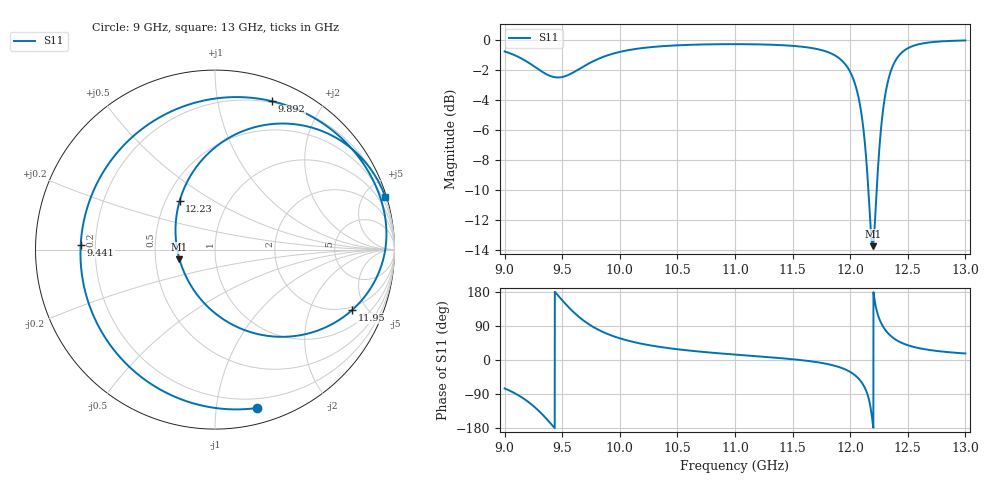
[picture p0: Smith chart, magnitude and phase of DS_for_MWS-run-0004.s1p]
! TOUCHSTONE file generated by CST DESIGN STUDIO
! Date and time: Tue Feb  4 17:49:34 2025
! Project name: C:\Work\MatlabApps\UnitCellOptimizationMatlab\CST\unitcell.cst
! Tree item: Tasks\Sweep1\SPara1\S-Parameters
! Header version: 2024
! Port assignment regex: !\s*Touchstone port\s*([0-9]+)\s*=\s*(CST MWS port|CST DES external port|CST DES block port)\s*(.+)\s* \(\"(.*)\"\)(\s*mode\s*([0-9]+))?.*
! Touchstone port assignment:
! Touchstone port 1 = CST DES external port 1 ("")
# GHz S MA R 50
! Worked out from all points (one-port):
!   4001 points, 9 GHz to 13 GHz, reference 50 ohm
!   lowest |S11| = -13.8 dB at 12.2 GHz (marker M1), VSWR 1.52, Z = 33.3 - j3.76 ohm
!   |S11| at or under -10 dB: 12.16 GHz to 12.23 GHz (72.5 MHz wide, 0.595 % of centre)
!   S11 on the Smith chart (normalised r, x): 9 GHz: 0.12, -1.30; 9.441 GHz: 0.14, +0.02; 9.892 GHz: 0.19, +1.44; 11.95 GHz: 1.80, -4.00; 12.23 GHz: 0.59, +0.36; 13 GHz: 0.14, +6.61
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9  0.9133 -75.0
9.13  0.8717 -95.0
9.233  0.8259 -117.1
9.35  0.7717 -150.7
9.441  0.7489 178.2
9.5  0.7506 157.6
9.587  0.7739 129.7
9.673  0.8088 106.9
9.892  0.886 68.9
10  0.9101 57.2
10.215  0.9392 41.3
10.5  0.9572 28.4
11  0.9658 14.3
11.5  0.9533 2.0
11.785  0.9146 -9.6
11.948  0.8358 -23.7
12  0.7804 -31.5
12.059  0.675 -44.9
12.115  0.5025 -66.4
12.154  0.3327 -94.5
12.195  0.2051 -164.7
12.234  0.3358 125.9
12.28  0.5611 91.0
12.328  0.7273 70.8
12.406  0.8673 51.6
12.5  0.9359 39.0
12.684  0.9782 26.6
13  0.9936 17.2
